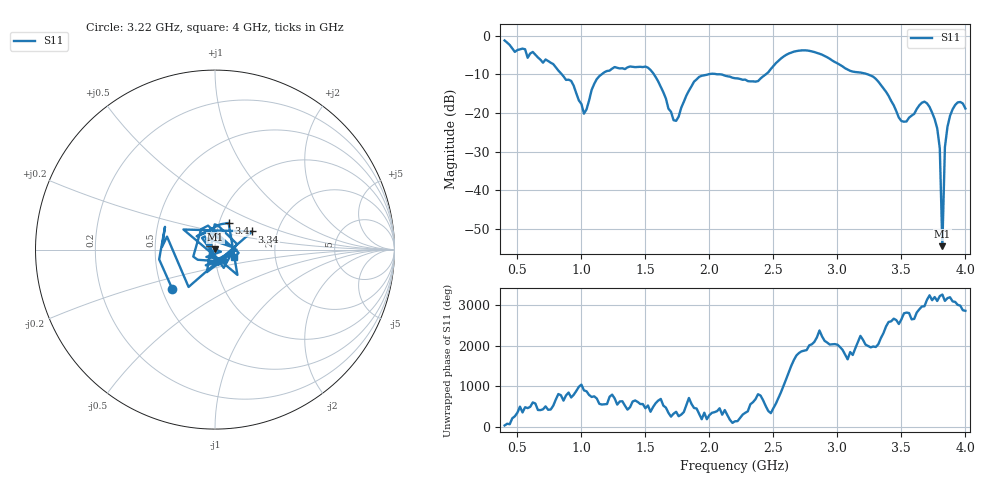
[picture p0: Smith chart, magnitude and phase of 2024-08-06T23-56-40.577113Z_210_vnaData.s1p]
!Created with skrf (http://scikit-rf.org).
# Hz S RI R 50.0
!freq ReS11 ImS11
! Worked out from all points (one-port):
!   181 points, 400 MHz to 4 GHz, reference 50 ohm
!   lowest |S11| = -54.5 dB at 3.82 GHz (marker M1), VSWR 1.00, Z = 50.2 + j0.063 ohm
!   |S11| at or under -10 dB: 1.567 GHz to 1.989 GHz (421.9 MHz wide, 23.7 % of centre); 2.091 GHz to 2.44 GHz (348.6 MHz wide, 15.4 % of centre); 3.239 GHz to end of sweep (the widest 3 of 4)
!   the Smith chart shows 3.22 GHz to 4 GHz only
!   S11 on the Smith chart (normalised r, x): 3.22 GHz: 0.57, -0.28; 3.34 GHz: 1.48, +0.32; 3.4 GHz: 1.11, +0.34; 4 GHz: 1.23, -0.11
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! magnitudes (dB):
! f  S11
! 400 MHz  -1.2
! 860 MHz  -10.5
! 920 MHz  -11.7
! 1.02 GHz  -20.2
! 1.12 GHz  -11.2
! 1.3 GHz  -8.4
! 1.52 GHz  -8.2
! 1.6 GHz  -11.8
! 1.72 GHz  -21.8
! 1.76 GHz  -20.9
! 1.92 GHz  -10.6
! 2.2 GHz  -11.0
! 2.38 GHz  -11.7
! 2.66 GHz  -4.1
! 3.1 GHz  -9.1
! 3.22 GHz  -9.8
! 3.34 GHz  -12.7
! 3.4 GHz  -15.5
! 3.5 GHz  -22.1
! 3.56 GHz  -21.2
! 3.68 GHz  -17.0
! 3.78 GHz  -24.0
! 3.8 GHz  -29.1
! 3.82 GHz  -54.5
! 3.84 GHz  -28.8
! 3.86 GHz  -23.6
! 3.92 GHz  -17.9
! 4 GHz  -18.8
